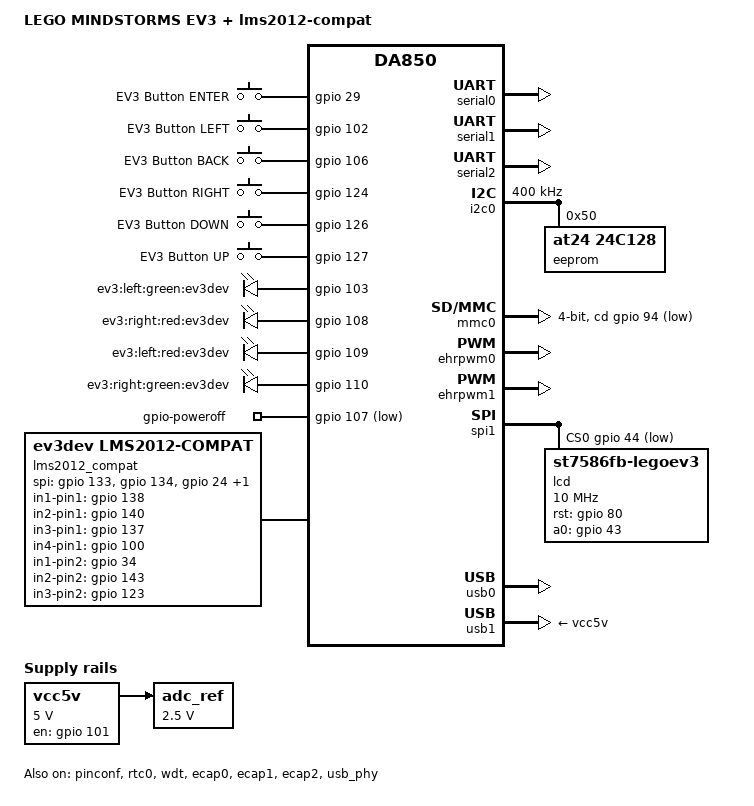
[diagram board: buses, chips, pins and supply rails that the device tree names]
/*
 * Device tree for LEGO MINDSTORMS EV3 + lms2012-compat
 *
 * Copyright (C) 2016 David Lechner <david@lechnology.com>
 *
 * This program is free software; you can redistribute  it and/or modify it
 * under  the terms of  the GNU General  Public License as published by the
 * Free Software Foundation, version 2.
 */

/dts-v1/;
#include <dt-bindings/gpio/gpio.h>
#include <dt-bindings/input/linux-event-codes.h>
#include <dt-bindings/pwm/pwm.h>

#include "da850.dtsi"

/ {
	compatible = "lego,ev3", "ti,da850";
	model = "LEGO MINDSTORMS EV3 + lms2012-compat";

	/*
	 * The buttons on the EV3 are mapped to keyboard keys.
	 */
	gpio_keys {
		compatible = "gpio-keys";
		#address-cells = <1>;
		#size-cells = <0>;
		label = "EV3 buttons";

		pinctrl-0 = <&button_pinmux>, <&button_pinconf>;
		pinctrl-names = "default";

		enter {
			label = "EV3 Button ENTER";
			linux,code = <KEY_ENTER>;
			gpios = <&gpio 29 GPIO_ACTIVE_HIGH>;
		};
		left {
			label = "EV3 Button LEFT";
			linux,code = <KEY_LEFT>;
			gpios = <&gpio 102 GPIO_ACTIVE_HIGH>;
		};
		back {
			label = "EV3 Button BACK";
			linux,code = <KEY_BACKSPACE>;
			gpios = <&gpio 106 GPIO_ACTIVE_HIGH>;
		};
		right {
			label = "EV3 Button RIGHT";
			linux,code = <KEY_RIGHT>;
			gpios = <&gpio 124 GPIO_ACTIVE_HIGH>;
		};
		down {
			label = "EV3 Button DOWN";
			linux,code = <KEY_DOWN>;
			gpios = <&gpio 126 GPIO_ACTIVE_HIGH>;
		};
		up {
			label = "EV3 Button UP";
			linux,code = <KEY_UP>;
			gpios = <&gpio 127 GPIO_ACTIVE_HIGH>;
		};
	};

	/*
	 * The EV3 has two built-in bi-color LEDs behind the buttons.
	 */
	leds {
		compatible = "gpio-leds";

		left_green {
			label = "ev3:left:green:ev3dev";
			/* GP6[13] */
			gpios = <&gpio 103 GPIO_ACTIVE_HIGH>;
			linux,default-trigger = "mmc0";
		};
		right_red {
			label = "ev3:right:red:ev3dev";
			/* GP6[7] */
			gpios = <&gpio 108 GPIO_ACTIVE_HIGH>;
			linux,default-trigger = "mmc0";
		};
		left_red {
			label = "ev3:left:red:ev3dev";
			/* GP6[12] */
			gpios = <&gpio 109 GPIO_ACTIVE_HIGH>;
			linux,default-trigger = "mmc0";
		};
		right_green {
			label = "ev3:right:green:ev3dev";
			/* GP6[14] */
			gpios = <&gpio 110 GPIO_ACTIVE_HIGH>;
			linux,default-trigger = "mmc0";
		};
	};

	/*
	 * The EV3 is powered down by turning off the main 5V supply.
	 */
	gpio-poweroff {
		compatible = "gpio-poweroff";
		gpios = <&gpio 107 GPIO_ACTIVE_LOW>;
	};

	/*
	 * This is a 5V current limiting regulator that is shared by USB,
	 * the sensor (input) ports, the motor (output) ports and the ADC.
	 */
	vcc5v: regulator1 {
		compatible = "regulator-fixed";
		regulator-name = "vcc5v";
		regulator-min-microvolt = <5000000>;
		regulator-max-microvolt = <5000000>;
		gpio = <&gpio 101 0>;
		over-current-gpios = <&gpio 99 GPIO_ACTIVE_LOW>;
		enable-active-high;
		regulator-boot-on;
	};

	/*
	 * This is a simple voltage divider on VCC5V to provide a 2.5V
	 * reference signal to the ADC.
	 */
	adc_ref: regulator2 {
		compatible = "regulator-fixed";
		regulator-name = "adc_ref";
		regulator-min-microvolt = <2500000>;
		regulator-max-microvolt = <2500000>;
		regulator-boot-on;
		vin-supply = <&vcc5v>;
	};

	/* Dummy devices to handle input pin mux */

	lms2012_compat_in1: lms2012-compat-in1 {
		compatible = "ev3dev,lms2012-compat-in-port";
		#in-port-cells = <0>;
		pinctrl-names = "default", "i2c";
		pinctrl-0 = <&in1_uart_pins>;
		pinctrl-1 = <&in1_i2c_pins>;
	};

	lms2012_compat_in2: lms2012-compat-in2 {
		compatible = "ev3dev,lms2012-compat-in-port";
		#in-port-cells = <0>;
		pinctrl-names = "default", "i2c";
		pinctrl-0 = <&in2_uart_pins>;
		pinctrl-1 = <&in2_i2c_pins>;
	};

	lms2012_compat_in3: lms2012-compat-in3 {
		compatible = "ev3dev,lms2012-compat-in-port";
		#in-port-cells = <0>;
		pinctrl-names = "default", "i2c";
		pinctrl-0 = <&in3_uart_pins>;
		pinctrl-1 = <&in3_i2c_pins>;
	};

	lms2012_compat_in4: lms2012-compat-in4 {
		compatible = "ev3dev,lms2012-compat-in-port";
		#in-port-cells = <0>;
		pinctrl-names = "default", "i2c";
		pinctrl-0 = <&in4_uart_pins>;
		pinctrl-1 = <&in4_i2c_pins>;
	};

	lms2012_compat: lms2012-compat {
		compatible = "ev3dev,lms2012-compat";

		/* MOSI, MISO, CLK, CS */
		spi-gpios = <&gpio 133 0>, <&gpio 134 0>, <&gpio 24 0>,
			    <&gpio 130 0>;

		/* IN PIN1 x 4, PIN6 x 4, OUT PIN5 x 4, N/C, N/C, BATT_I, BATT_V */
		adc-channels = <6 8 10 12 5 7 9 11 1 0 13 14 15 2 3 4>;

		/* PIN1 */
		in1-pin1-gpios = <&gpio 138 0>;
		in2-pin1-gpios = <&gpio 140 0>;
		in3-pin1-gpios = <&gpio 137 0>;
		in4-pin1-gpios = <&gpio 100 0>;

		/* PIN2 */
		in1-pin2-gpios = <&gpio  34 0>;
		in2-pin2-gpios = <&gpio 143 0>;
		in3-pin2-gpios = <&gpio 123 0>;
		in4-pin2-gpios = <&gpio 120 0>;

		/* PIN5, PIN6, BUF_ENA */
		in1-gpios = <&gpio  2 0>, <&gpio 15 0>, <&gpio 139 0>;
		in2-gpios = <&gpio 14 0>, <&gpio 13 0>, <&gpio 142 0>;
		in3-gpios = <&gpio 12 0>, <&gpio 30 0>, <&gpio 121 0>;
		in4-gpios = <&gpio  1 0>, <&gpio 31 0>, <&gpio 122 0>;

		/* IN1, IN2, IN3, IN4 */
		in-tty-names = "ttyS1", "ttyS0", "ttySU1", "ttySU0";

		/* IN1, IN2, IN3, IN4 */
		in-i2cs = <3>, <4>, <5>, <6>;

		/* IN1, IN2, IN3, IN4 */
		in-in-ports = <&lms2012_compat_in1>, <&lms2012_compat_in2>,
			      <&lms2012_compat_in3>, <&lms2012_compat_in4>;

		/* PIN1, PIN2, PIN5W, PIN5R, PIN6 */
		outA-gpios = <&gpio  63 0>, <&gpio  54 0>, <&gpio  84 0>,
			     <&gpio  91 GPIO_ACTIVE_LOW>,
			     <&gpio   4 GPIO_ACTIVE_LOW>;
		outB-gpios = <&gpio  33 0>, <&gpio   3 0>, <&gpio  37 0>,
			     <&gpio  88 GPIO_ACTIVE_LOW>,
			     <&gpio  41 GPIO_ACTIVE_LOW>;
		outC-gpios = <&gpio 104 0>, <&gpio  89 0>, <&gpio  56 0>,
			     <&gpio  93 GPIO_ACTIVE_LOW>,
			     <&gpio  62 GPIO_ACTIVE_LOW>;
		outD-gpios = <&gpio  83 0>, <&gpio  90 0>, <&gpio  95 0>,
			     <&gpio 105 GPIO_ACTIVE_LOW>,
			     <&gpio  40 GPIO_ACTIVE_LOW>;

		pwms = <&ehrpwm1 1 0 PWM_POLARITY_INVERTED>,
		       <&ehrpwm1 0 0 PWM_POLARITY_INVERTED>,
		       <&ecap0 0 0 PWM_POLARITY_INVERTED>,
		       <&ecap1 0 0 PWM_POLARITY_INVERTED>;
		pwm-names = "outA", "outB", "outC", "outD";
	};
};

&pmx_core {
	status = "okay";
	pinctrl-0 = <&fixed_pins>;
	pinctrl-names = "default";

	in1_uart_pins: pinmux-in1-uart {
		pinctrl-single,bits = <
			/* UART1_TXD */
			0x10 0x20000000 0xf0000000
		>;
	};

	in1_i2c_pins: pinmux-in1-i2c {
		pinctrl-single,bits = <
			/* GP1[0] */
			0x10 0x80000000 0xf0000000
		>;
	};

	in2_uart_pins: pinmux-in2-uart {
		pinctrl-single,bits = <
			/* UART0_TXD */
			0x0c 0x00200000 0x00f00000
		>;
	};

	in2_i2c_pins: pinmux-in2-i2c {
		pinctrl-single,bits = <
			/* GP8[3] */
			0x0c 0x00400000 0x00f00000
		>;
	};

	in3_uart_pins: pinmux-in3-uart {
		pinctrl-single,bits = <
			/* AXR4 */
			0x08 0x00001000 0x0000f000
		>;
	};

	in3_i2c_pins: pinmux-in3-i2c {
		pinctrl-single,bits = <
			/* GP1[12] */
			0x08 0x00004000 0x0000f000
		>;
	};

	in4_uart_pins: pinmux-in4-uart {
		pinctrl-single,bits = <
			/* AXR3 */
			0x08 0x00010000 0x000f0000
		>;
	};

	in4_i2c_pins: pinmux-in4-i2c {
		pinctrl-single,bits = <
			/* GP1[11] */
			0x08 0x00040000 0x000f0000
		>;
	};

	button_pinmux: pinmux-buttons {
		pinctrl-single,bits = <
			/*
			 * GP1[13]
			 */
			0x08 0x00000400 0x00000f00
			/*
			 * GP6[10]
			 */
			0x34 0x00800000 0x00f00000
			/*
			 * GP6[6]
			 */
			0x38 0x00000080 0x000000f0
			/*
			 * GP7[12], GP7[14], GP7[15]
			 */
			0x40 0x00808800 0x00f0ff00
		>;
	};

	fixed_pins: pinmux-fixed {
		pinctrl-single,bits = <
			/*
			 * UART2_CTS, UART2_RTS, AHCLKX, AHCLKR, GP0[12],
			 * GP0[13], GP0[14], GP0[15]
			 */
			0x00 0x44118888 0xffffffff
			/*
			 * ECAP1_AWPWM, GP0[1], GP0[2], GP0[3], GP0[4], GP0[5],
			 * GP0[6], ECAP2_APWM2
			 */
			0x04 0x48888884 0xffffffff
			/*
			 * ECAP0_APWM0, AXR1, AXR2, GP1[14], GP1[15]
			 */
			0x08 0x21100048 0xfff000ff
			/*
			 * GP8[2], UART0_RXD, GP8[5], GP8[6], EPWM0B, GP1[8]
			 */
			0x0c 0x04024424 0x0f0fffff
			/*
			 * UART1_RXD, UART2_TXD, UART2_RXD, I2C0_SDA, I2C0_SCL,
			 * SPI0_SCS[0]
			 */
			0x10 0x02222210 0x0ffffff0
			/*
			 * GP2[8], GP2[9], SPI1_SIMO, GP2[11], GP2[12],
			 * SPI1_CLK, EPWM1B, EPWM1A
			 */
			0x14 0x88188122 0xffffffff
			/*
			 * GP2[0], GP2[1], GP2[2], GP2[5], GP2[7]
			 */
			0x18 0x88800808 0xfff00f0f
			/*
			 * GP3[8], GP3[14], GP3[15]
			 */
			0x1c 0x80000088 0xf00000ff
			/*
			 * GP3[2], GP3[3], GP3[4], GP3[5], GP3[6]
			 */
			0x20 0x00888880 0x00fffff0
			/*
			 * GP4[9], GP4[10], GP4[14]
			 */
			0x24 0x08800080 0x0ff000f0
			/*
			 * MMCSD0_DAT[3], MMCSD0_DAT[2], MMCSD0_DAT[1],
			 * MMCSD0_DAT[0], MMCSD0_CMD, MMCSD0_CLK
			 */
			0x28 0x00222222 0x00ffffff
			/*
			 * GP5[8], GP5[9], GP5[10], GP5[11], GP5[13], GP5[14],
			 * GP5[15]
			 */
			0x2c 0x88880888 0xffff0fff
			/*
			 * GP5[0], GP5[2], GP5[3], GP5[4], GP5[7]
			 */
			0x30 0x80888008 0xf0fff00f
			/*
			 * GP6[8], GP6[9], GP6[11], GP6[12], GP6[13], GP6[14],
			 * GP6[15]
			 */
			0x34 0x88088888 0xff0fffff
			/*
			 * GP6[7]
			 */
			0x38 0x00000008 0x0000000f
			/*
			 * GP7[10], GP7[11], GP6[5]
			 */
			0x40 0x88000080 0xff0000f0
			/*
			 * BOOT2, BOOT3, BOOT4, BOOT5, BOOT6, BOOT7, GP7[8],
			 * GP7[9]
			 */
			0x44 0x00000088 0xffffffff
			/*
			 * GP8[10], GP8[11], GP8[12], GP8[14], GP8[15], BOOT0,
			 * BOOT1
			 */
			0x48 0x88808800 0xfff0ffff
			/*
			 * RTCK, GP6[2], GP6[3], GP6[4], GP8[8], GP8[9]
			 */
			0x4c 0x00088888 0xf00fffff
		>;
	};
};

&pinconf {
	status = "okay";
	pinctrl-0 = <&pinconf_bias_groups>;
	pinctrl-names = "default";

	pinconf_bias_groups: bias-groups {
		disable {
			groups = "cp0", "cp1", "cp2", "cp3", "cp4",
				 "cp6", "cp7", "cp8", "cp9", "cp10", "cp11",
				 "cp12", "cp13", "cp14", "cp15", "cp16", "cp17",
				 "cp18", "cp19", "cp20", "cp21", "cp22", "cp23",
				 "cp26", "cp27", "cp29", "cp30", "cp31";
			bias-disable;
		};
	};

	/*
	 * Buttons have external pull down resistors, so bias has to be disabled
	 * in order for them to work correctly.
	 */
	button_pinconf: buttons {
		disable {
			groups = "cp5", "cp24", "cp25", "cp28";
			bias-disable;
		};
	};
};

&serial0 {
	#tty-cells = <0>;
	status = "okay";
};

&serial1 {
	#tty-cells = <0>;
	status = "okay";
};

/* Bluetooth */
&serial2 {
	status = "okay";
	auto-flow-control;
};

&rtc0 {
	status = "okay";
};

&i2c0 {
	status = "okay";
	clock-frequency = <400000>;

	/*
	 * EEPROM contains the first stage bootloader, HW ID and Bluetooth MAC.
	 */
	eeprom@50 {
		compatible = "at24,24c128";
		pagesize = <64>;
		read-only;
		reg = <0x50>;
	};
};

&wdt {
	status = "okay";
};

&mmc0 {
	status = "okay";
	max-frequency = <50000000>;
	bus-width = <4>;
	cd-gpios = <&gpio 94 GPIO_ACTIVE_LOW>;
};

&ehrpwm0 {
	status = "okay";
};

&ehrpwm1 {
	status = "okay";
};

&ecap0 {
	status = "okay";
};

&ecap1 {
	status = "okay";
};

&ecap2 {
	status = "okay";
};

&spi1 {
	status = "okay";
	cs-gpios = <&gpio 44 GPIO_ACTIVE_LOW>;

	lcd@0 {
		compatible = "st7586fb-legoev3";
		reg = <0>;
		spi-max-frequency = <10000000>;
		rst-gpios = <&gpio 80 GPIO_ACTIVE_HIGH>;
		a0-gpios = <&gpio 43 GPIO_ACTIVE_HIGH>;
	};
};

&gpio {
	status = "okay";
};

&usb_phy {
	status = "okay";
};

&usb0 {
	status = "okay";
};

&usb1 {
	status = "okay";
	vbus-supply = <&vcc5v>;
};
